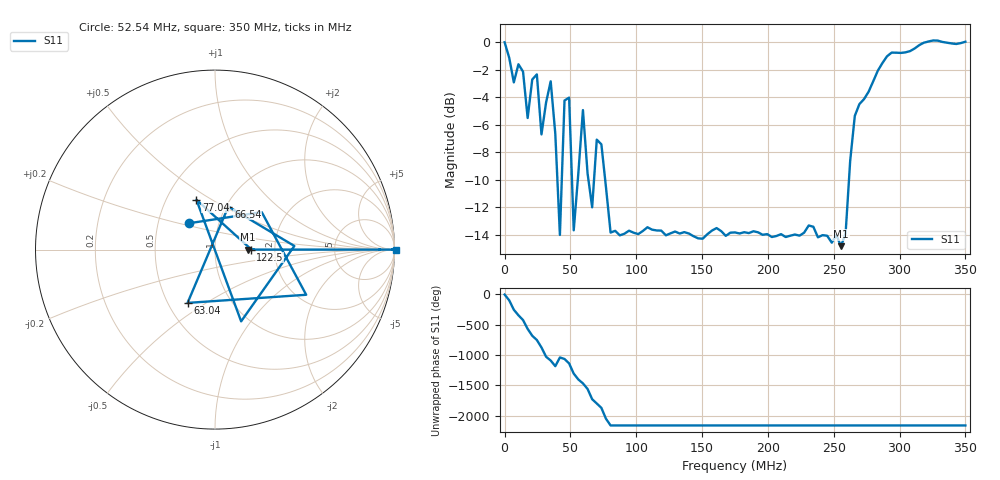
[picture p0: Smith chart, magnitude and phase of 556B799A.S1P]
!File created by NanoVNA
# Hz S RI R 50
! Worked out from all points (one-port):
!   101 points, 50 kHz to 350 MHz, reference 50 ohm
!   lowest |S11| = -14.8 dB at 255.5 MHz (marker M1), VSWR 1.44, Z = 72.1 + j0 ohm
!   |S11| at or under -10 dB: 40.14 MHz to 43.48 MHz (3.344 MHz wide, 8 % of centre); 51.21 MHz to 55.65 MHz (4.439 MHz wide, 8.31 % of centre); 76.42 MHz to 261.6 MHz (185.2 MHz wide, 110 % of centre) (the widest 3 of 4)
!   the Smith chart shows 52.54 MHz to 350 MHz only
!   S11 on the Smith chart (normalised r, x): 52.54 MHz: 0.72, +0.22; 63.04 MHz: 0.63, -0.42; 66.54 MHz: 1.02, +0.52; 77.04 MHz: 0.70, +0.43; 122.5 MHz: 1.50, +0.00; 350 MHz: open
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50000  1.001 -0.0192
3549500  -0.1073 -0.8728
7049000  -0.2309 0.6771
1.05485e7  0.7963 0.2429
1.4048e7  0.3686 -0.6905
1.75475e7  -0.4702 0.2458
2.1047e7  0.5707 0.4598
2.8046e7  -0.4142 -0.2058
3.15455e7  0.3631 0.483
3.5045e7  0.7126 -0.1145
3.85445e7  -0.1017 -0.454
4.55435e7  0.5896 0.1729
4.9043e7  0.3423 -0.5283
5.25425e7  -0.1461 0.1466
5.95415e7  0.5081 -0.2517
6.3041e7  -0.1529 -0.297
6.65405e7  0.0744 0.2397
7.35395e7  0.1456 -0.3998
7.7039e7  -0.1036 0.2781
8.75375e7  0.1984 0
1.225325e8  0.1984 0
1.33031e8  0.2014 0
1.75025e8  0.2034 0
2.205185e8  0.1998 0
2.555135e8  0.1812 0
2.625125e8  0.3711 0
3.08006e8  0.9298 0
3.5e8  1.006 0
